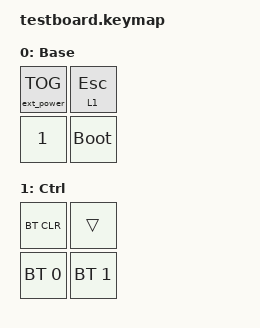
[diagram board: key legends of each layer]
/*
 * Copyright (c) 2020 The ZMK Contributors
 *
 * SPDX-License-Identifier: MIT
 */

#include <behaviors.dtsi>
#include <dt-bindings/zmk/keys.h>
#include <dt-bindings/zmk/bt.h>
#include <dt-bindings/zmk/ext_power.h>

/ {
    keymap {
        compatible = "zmk,keymap";

        default_layer {
            label = "Base";
            bindings = <
                &ext_power EP_TOG       &lt 1 ESC
                &kp N1                  &bootloader
            >;

        };

        ctrl_layer {
            label = "Ctrl";
            bindings = <
                &bt BT_CLR              &trans 
                &bt BT_SEL 0            &bt BT_SEL 1
            >;

        };
    };
};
